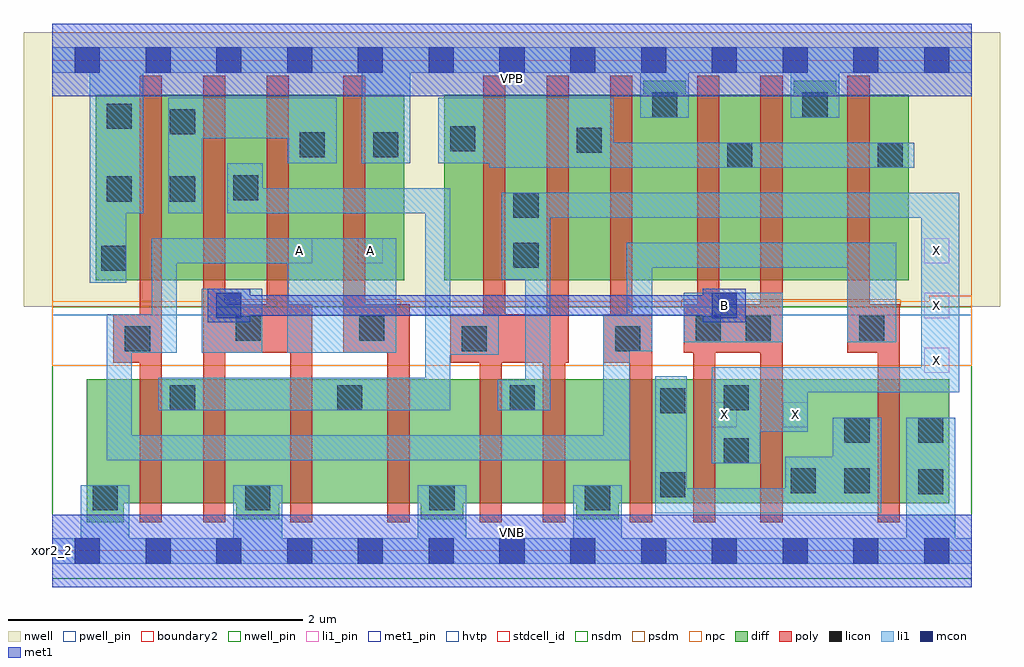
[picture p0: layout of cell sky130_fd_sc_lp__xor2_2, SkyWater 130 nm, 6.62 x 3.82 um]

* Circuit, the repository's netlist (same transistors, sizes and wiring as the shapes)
* Copyright 2020 The SkyWater PDK Authors
*
* Licensed under the Apache License, Version 2.0 (the "License");
* you may not use this file except in compliance with the License.
* You may obtain a copy of the License at
*
*     https://www.apache.org/licenses/LICENSE-2.0
*
* Unless required by applicable law or agreed to in writing, software
* distributed under the License is distributed on an "AS IS" BASIS,
* WITHOUT WARRANTIES OR CONDITIONS OF ANY KIND, either express or implied.
* See the License for the specific language governing permissions and
* limitations under the License.
*
* SPDX-License-Identifier: Apache-2.0

.SUBCKT sky130_fd_sc_lp__xor2_2 A B VGND VNB VPB VPWR X
*.PININFO A:I B:I VGND:I VNB:I VPB:I VPWR:I X:O
MMNnor0 inor A VGND VNB sky130_fd_pr__nfet_01v8 m=2 w=0.84U l=0.15U mult=1 sa=0.265
+ sb=0.265 sd=0.28 area=0.063 perim=1.14
MMNnor1 inor B VGND VNB sky130_fd_pr__nfet_01v8 m=2 w=0.84U l=0.15U mult=1 sa=0.265
+ sb=0.265 sd=0.28 area=0.063 perim=1.14
MMNaoi10 VGND A sndNA VNB sky130_fd_pr__nfet_01v8 m=2 w=0.84U l=0.15U mult=1 sa=0.265
+ sb=0.265 sd=0.28 area=0.063 perim=1.14
MMNaoi11 sndNA B X VNB sky130_fd_pr__nfet_01v8 m=2 w=0.84U l=0.15U mult=1 sa=0.265
+ sb=0.265 sd=0.28 area=0.063 perim=1.14
MMNaoi20 X inor VGND VNB sky130_fd_pr__nfet_01v8 m=2 w=0.84U l=0.15U mult=1 sa=0.265
+ sb=0.265 sd=0.28 area=0.063 perim=1.14
MMPnor0 VPWR A sndPA VPB sky130_fd_pr__pfet_01v8_hvt m=2 w=1.26U l=0.15U mult=1
+ sa=0.265 sb=0.265 sd=0.28 area=0.063 perim=1.14
MMPnor1 sndPA B inor VPB sky130_fd_pr__pfet_01v8_hvt m=2 w=1.26U l=0.15U mult=1
+ sa=0.265 sb=0.265 sd=0.28 area=0.063 perim=1.14
MMPaoi10 pmid A VPWR VPB sky130_fd_pr__pfet_01v8_hvt m=2 w=1.26U l=0.15U mult=1
+ sa=0.265 sb=0.265 sd=0.28 area=0.063 perim=1.14
MMPaoi11 pmid B VPWR VPB sky130_fd_pr__pfet_01v8_hvt m=2 w=1.26U l=0.15U mult=1
+ sa=0.265 sb=0.265 sd=0.28 area=0.063 perim=1.14
MMPaoi20 X inor pmid VPB sky130_fd_pr__pfet_01v8_hvt m=2 w=1.26U l=0.15U mult=1
+ sa=0.265 sb=0.265 sd=0.28 area=0.063 perim=1.14
.ENDS sky130_fd_sc_lp__xor2_2

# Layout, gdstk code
import gdstk
lib = gdstk.Library(unit=1e-6, precision=1e-09)
def R(c, l, rs):  # rectangles x0, y0, x1, y1
    for r in rs: c.add(gdstk.rectangle(r[:2], r[2:], *l))
def A(c, l, x, y, w, h, nx, ny, dx, dy):  # array of equal rectangles
    R(c, l, [(x+i*dx, y+j*dy, x+i*dx+w, y+j*dy+h) for i in range(nx) for j in range(ny)])
def P(c, l, *ps):  # polygons
    for p in ps: c.add(gdstk.Polygon(p, *l))
nwell_pin = (64, 16)
nwell = (64, 20)
diff = (65, 20)
poly = (66, 20)
licon = (66, 44)
li1_pin = (67, 16)
li1 = (67, 20)
mcon = (67, 44)
met1_pin = (68, 16)
met1 = (68, 20)
hvtp = (78, 44)
stdcell_id = (81, 4)
nsdm = (93, 44)
psdm = (94, 20)
npc = (95, 20)
pwell_pin = (122, 16)
boundary2 = (236, 0)

sky130_fd_sc_lp__xor2_2 = lib.new_cell('sky130_fd_sc_lp__xor2_2')
R(sky130_fd_sc_lp__xor2_2, nwell_pin, [(0,3.085,6.24,3.33)])
R(sky130_fd_sc_lp__xor2_2, nwell, [(-0.19,1.655,6.43,3.52)])
R(sky130_fd_sc_lp__xor2_2, diff, [(0.295,1.835,2.39,3.095)])
P(sky130_fd_sc_lp__xor2_2, diff, [(5.81,3.095),(5.32,3.095),(5.32,3.19),(5.03,3.19),(5.03,3.095),(4.3,3.095),(4.3,3.19),(4.01,3.19),(4.01,3.095),(2.66,3.095),(2.66,1.835),(5.81,1.835)],
  [(6.085,1.165),(0.235,1.165),(0.235,0.195),(0.485,0.195),(0.485,0.325),(1.25,0.325),(1.25,0.215),(1.54,0.215),(1.54,0.325),(2.5,0.325),(2.5,0.215),(2.79,0.215),(2.79,0.325),(3.555,0.325),(3.555,0.215),(3.845,0.215),(3.845,0.325),(6.085,0.325)])
P(sky130_fd_sc_lp__xor2_2, poly, [(0.745,3.225),(0.595,3.225),(0.595,1.605),(0.415,1.605),(0.415,1.275),(0.595,1.275),(0.595,0.195),(0.745,0.195)],
  [(1.765,1.675),(1.605,1.675),(1.605,3.225),(1.455,3.225),(1.455,1.675),(1.175,1.675),(1.175,3.225),(1.025,3.225),(1.025,0.195),(1.175,0.195),(1.175,1.345),(1.615,1.345),(1.615,0.195),(1.765,0.195)],
  [(5.75,1.675),(5.545,1.675),(5.545,3.225),(5.395,3.225),(5.395,1.345),(5.6,1.345),(5.6,0.195),(5.75,0.195)],
  [(4.955,3.225),(4.805,3.225),(4.805,1.675),(4.525,1.675),(4.525,3.225),(4.375,3.225),(4.375,1.675),(4.285,1.675),(4.285,1.345),(4.35,1.345),(4.35,0.195),(4.5,0.195),(4.5,1.345),(4.805,1.345),(4.805,0.195),(4.955,0.195)],
  [(2.425,1.675),(2.125,1.675),(2.125,3.225),(1.975,3.225),(1.975,1.345),(2.275,1.345),(2.275,0.195),(2.425,0.195)],
  [(3.505,3.225),(3.355,3.225),(3.355,1.605),(3.075,1.605),(3.075,3.225),(2.925,3.225),(2.925,1.605),(2.7,1.605),(2.7,1.275),(2.9,1.275),(2.9,0.195),(3.05,0.195),(3.05,1.275),(3.33,1.275),(3.33,0.195),(3.48,0.195),(3.48,1.275),(3.505,1.275)],
  [(4.07,1.605),(3.935,1.605),(3.935,3.225),(3.785,3.225),(3.785,1.605),(3.74,1.605),(3.74,1.275),(3.92,1.275),(3.92,0.195),(4.07,0.195)])
R(sky130_fd_sc_lp__xor2_2, licon, [(0.275,0.275,0.445,0.445), (1.31,0.275,1.48,0.445), (2.56,0.275,2.73,0.445), (3.615,0.275,3.785,0.445), (4.125,0.365,4.295,0.535), (5.875,0.385,6.045,0.555), (5.01,0.39,5.18,0.56), (5.375,0.39,5.545,0.56), (4.555,0.595,4.725,0.765), (5.375,0.735,5.545,0.905), (5.875,0.735,6.045,0.905), (4.125,0.935,4.295,1.105), (0.8,0.955,0.97,1.125), (1.935,0.955,2.105,1.125), (3.105,0.955,3.275,1.125), (4.555,0.955,4.725,1.125), (0.495,1.355,0.665,1.525), (2.78,1.355,2.95,1.525), (3.82,1.355,3.99,1.525), (1.245,1.425,1.415,1.595), (2.085,1.425,2.255,1.595), (4.365,1.425,4.535,1.595), (4.705,1.425,4.875,1.595), (5.475,1.425,5.645,1.595), (0.335,1.9,0.505,2.07), (3.13,1.92,3.3,2.09), (3.13,2.26,3.3,2.43), (0.37,2.37,0.54,2.54), (0.8,2.37,0.97,2.54), (1.23,2.38,1.4,2.55), (4.58,2.6,4.75,2.77), (5.6,2.6,5.77,2.77), (1.68,2.67,1.85,2.84), (2.18,2.67,2.35,2.84), (3.56,2.7,3.73,2.87), (2.7,2.71,2.87,2.88), (0.8,2.825,0.97,2.995), (0.37,2.865,0.54,3.035), (4.07,2.94,4.24,3.11), (5.09,2.94,5.26,3.11)])
A(sky130_fd_sc_lp__xor2_2, li1_pin, 5.915, 1.21, 0.17, 0.17, 1, 3, 0, 0.37)
R(sky130_fd_sc_lp__xor2_2, li1_pin, [(4.475,0.84,4.645,1.01), (4.955,0.84,5.125,1.01), (1.595,1.95,1.765,2.12), (2.075,1.95,2.245,2.12)])
R(sky130_fd_sc_lp__xor2_2, li1, [(1.015,1.345,1.425,1.78), (4.285,1.415,4.955,1.75)])
P(sky130_fd_sc_lp__xor2_2, li1, [(1.93,3.075),(0.79,3.075),(0.79,2.29),(1.02,2.29),(1.02,2.8),(1.6,2.8),(1.6,2.63),(1.93,2.63)],
  [(5.625,0.905),(5.295,0.905),(5.295,0.64),(4.975,0.64),(4.975,0.425),(4.305,0.425),(4.305,1.185),(4.09,1.185),(4.09,0.255),(5.625,0.255)],
  [(6.24,3.415),(0,3.415),(0,3.245),(0.255,3.245),(0.255,1.82),(0.505,1.82),(0.505,2.29),(0.62,2.29),(0.62,3.245),(2.1,3.245),(2.1,2.63),(2.43,2.63),(2.43,3.245),(3.99,3.245),(3.99,2.94),(4.32,2.94),(4.32,3.245),(5.01,3.245),(5.01,2.94),(5.34,2.94),(5.34,3.245),(6.24,3.245)],
  [(5.85,2.77),(3.81,2.77),(3.81,3.075),(2.62,3.075),(2.62,2.63),(2.965,2.63),(2.965,2.6),(5.85,2.6)],
  [(6.24,0.085),(6.125,0.085),(6.125,0.905),(5.795,0.905),(5.795,0.085),(3.865,0.085),(3.865,0.445),(3.535,0.445),(3.535,0.085),(2.81,0.085),(2.81,0.445),(2.48,0.445),(2.48,0.085),(1.56,0.085),(1.56,0.445),(1.23,0.445),(1.23,0.085),(0.525,0.085),(0.525,0.445),(0.195,0.445),(0.195,0.085),(0,0.085),(0,-0.085),(6.24,-0.085)],
  [(5.725,2.09),(3.9,2.09),(3.9,1.605),(3.74,1.605),(3.74,0.785),(0.54,0.785),(0.54,1.345),(0.845,1.345),(0.845,1.95),(1.595,1.95),(1.595,1.345),(2.335,1.345),(2.335,2.12),(0.675,2.12),(0.675,1.605),(0.37,1.605),(0.37,0.615),(3.92,0.615),(3.92,1.355),(4.07,1.355),(4.07,1.92),(5.395,1.92),(5.395,1.415),(5.725,1.415)],
  [(6.155,2.43),(3.05,2.43),(3.05,1.84),(3.21,1.84),(3.21,1.16),(3.025,1.16),(3.025,0.955),(3.38,0.955),(3.38,2.26),(5.895,2.26),(5.895,1.245),(4.475,1.245),(4.475,0.595),(4.805,0.595),(4.805,0.81),(5.125,0.81),(5.125,1.075),(6.155,1.075)],
  [(3.03,1.605),(2.7,1.605),(2.7,2.46),(1.43,2.46),(1.43,2.63),(1.19,2.63),(1.19,2.29),(2.53,2.29),(2.53,1.175),(0.72,1.175),(0.72,0.955),(2.7,0.955),(2.7,1.33),(3.03,1.33)])
A(sky130_fd_sc_lp__xor2_2, mcon, 0.155, -0.085, 0.17, 0.17, 13, 2, 0.48, 3.33)
R(sky130_fd_sc_lp__xor2_2, mcon, [(1.115,1.58,1.285,1.75), (4.475,1.58,4.645,1.75)])
R(sky130_fd_sc_lp__xor2_2, met1_pin, [(0,0,6.24,0.245), (4.475,1.58,4.645,1.75), (0,3.085,6.24,3.33)])
R(sky130_fd_sc_lp__xor2_2, met1, [(0,-0.245,6.24,0.245), (0,3.085,6.24,3.575)])
P(sky130_fd_sc_lp__xor2_2, met1, [(1.345,1.735),(4.415,1.735),(4.415,1.78),(4.705,1.78),(4.705,1.55),(4.415,1.55),(4.415,1.595),(1.345,1.595),(1.345,1.55),(1.055,1.55),(1.055,1.78),(1.345,1.78)])
R(sky130_fd_sc_lp__xor2_2, hvtp, [(0,1.6,6.24,3.33)])
R(sky130_fd_sc_lp__xor2_2, stdcell_id, [(0,0,6.24,3.33)])
R(sky130_fd_sc_lp__xor2_2, nsdm, [(0,-0.19,6.24,1.655)])
P(sky130_fd_sc_lp__xor2_2, psdm, [(6.24,3.52),(0,3.52),(0,1.655),(1.135,1.655),(1.135,1.705),(1.525,1.705),(1.525,1.655),(1.975,1.655),(1.975,1.705),(2.365,1.705),(2.365,1.655),(4.27,1.655),(4.27,1.705),(5.755,1.705),(5.755,1.655),(6.24,1.655)])
P(sky130_fd_sc_lp__xor2_2, npc, [(6.24,1.73),(5.95,1.73),(5.95,1.695),(0,1.695),(0,1.255),(6.24,1.255)])
R(sky130_fd_sc_lp__xor2_2, pwell_pin, [(0,0,6.24,0.245)])
R(sky130_fd_sc_lp__xor2_2, boundary2, [(0,0,6.24,3.33)])
sky130_fd_sc_lp__xor2_2.add(gdstk.Label('VNB', (3.12,0.123), layer=64, texttype=59))
sky130_fd_sc_lp__xor2_2.add(gdstk.Label('VPB', (3.12,3.208), layer=64, texttype=5))
sky130_fd_sc_lp__xor2_2.add(gdstk.Label('xor2_2', (0,0), layer=83, texttype=44))
sky130_fd_sc_lp__xor2_2.add(gdstk.Label('B', (4.56,1.665), layer=68, texttype=5))
sky130_fd_sc_lp__xor2_2.add(gdstk.Label('VPWR', (3.12,3.208), layer=68, texttype=5))
sky130_fd_sc_lp__xor2_2.add(gdstk.Label('VGND', (3.12,0.123), layer=68, texttype=5))
sky130_fd_sc_lp__xor2_2.add(gdstk.Label('X', (4.56,0.925), layer=67, texttype=5))
sky130_fd_sc_lp__xor2_2.add(gdstk.Label('X', (5.04,0.925), layer=67, texttype=5))
sky130_fd_sc_lp__xor2_2.add(gdstk.Label('A', (1.68,2.035), layer=67, texttype=5))
sky130_fd_sc_lp__xor2_2.add(gdstk.Label('A', (2.16,2.035), layer=67, texttype=5))
sky130_fd_sc_lp__xor2_2.add(gdstk.Label('X', (6,2.035), layer=67, texttype=5))
sky130_fd_sc_lp__xor2_2.add(gdstk.Label('X', (6,1.665), layer=67, texttype=5))
sky130_fd_sc_lp__xor2_2.add(gdstk.Label('X', (6,1.295), layer=67, texttype=5))

lib.write_gds('sky130_fd_sc_lp__xor2_2.gds')
